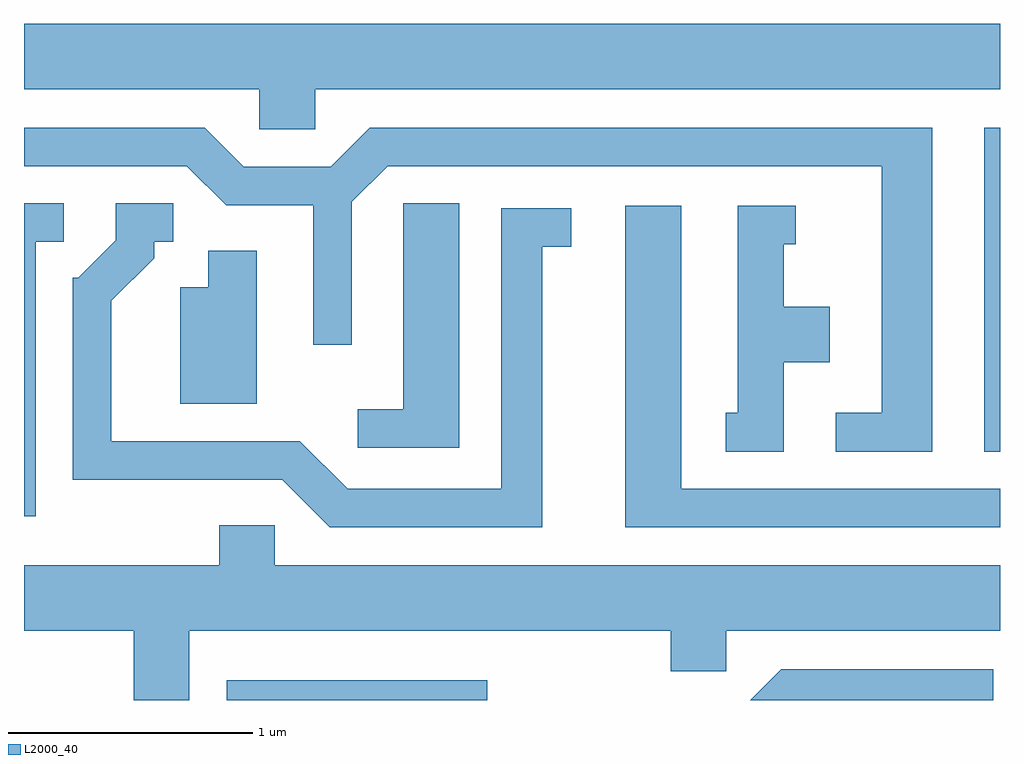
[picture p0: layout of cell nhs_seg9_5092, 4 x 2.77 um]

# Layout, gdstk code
import gdstk
lib = gdstk.Library(unit=1e-6, precision=1e-09)
def R(c, l, rs):  # rectangles x0, y0, x1, y1
    for r in rs: c.add(gdstk.rectangle(r[:2], r[2:], *l))
def P(c, l, *ps):  # polygons
    for p in ps: c.add(gdstk.Polygon(p, *l))
L2000_40 = (2000, 40)

nhs_seg9_5092 = lib.new_cell('nhs_seg9_5092')
R(nhs_seg9_5092, L2000_40, [(336.441,1980.432,337.509,1980.514), (339.546,1981.451,339.611,1982.779)])
P(nhs_seg9_5092, L2000_40, [(336.804,1982.936),(339.611,1982.936),(339.611,1983.204),(335.611,1983.204),(335.611,1982.936),(336.576,1982.936),(336.576,1982.771),(336.804,1982.771)],
  [(339.334,1982.779),(337.029,1982.779),(336.869,1982.619),(336.512,1982.619),(336.352,1982.779),(335.611,1982.779),(335.611,1982.621),(336.279,1982.621),(336.439,1982.461),(336.796,1982.461),(336.796,1981.888),(336.954,1981.888),(336.954,1982.474),(337.102,1982.621),(339.126,1982.621),(339.126,1981.609),(338.938,1981.609),(338.938,1981.451),(339.334,1981.451)],
  [(337.394,1982.469),(337.166,1982.469),(337.166,1981.624),(336.978,1981.624),(336.978,1981.466),(337.394,1981.466)],
  [(335.659,1982.311),(335.773,1982.311),(335.773,1982.469),(335.611,1982.469),(335.611,1981.186),(335.659,1981.186)],
  [(337.734,1982.291),(337.853,1982.291),(337.853,1982.449),(337.566,1982.449),(337.566,1981.299),(336.937,1981.299),(336.742,1981.494),(335.969,1981.494),(335.969,1982.069),(336.144,1982.244),(336.144,1982.311),(336.223,1982.311),(336.223,1982.469),(335.986,1982.469),(335.986,1982.317),(335.834,1982.164),(335.811,1982.164),(335.811,1981.336),(336.669,1981.336),(336.864,1981.141),(337.734,1981.141)],
  [(338.724,1981.816),(338.914,1981.816),(338.914,1982.044),(338.724,1982.044),(338.724,1982.301),(338.773,1982.301),(338.773,1982.459),(338.536,1982.459),(338.536,1981.609),(338.488,1981.609),(338.488,1981.451),(338.724,1981.451)],
  [(339.611,1981.299),(338.304,1981.299),(338.304,1982.459),(338.076,1982.459),(338.076,1981.141),(339.611,1981.141)],
  [(336.564,1982.274),(336.366,1982.274),(336.366,1982.124),(336.251,1982.124),(336.251,1981.646),(336.564,1981.646)],
  [(336.289,1980.716),(338.261,1980.716),(338.261,1980.551),(338.489,1980.551),(338.489,1980.716),(339.611,1980.716),(339.611,1980.984),(336.639,1980.984),(336.639,1981.149),(336.411,1981.149),(336.411,1980.984),(335.611,1980.984),(335.611,1980.716),(336.061,1980.716),(336.061,1980.432),(336.289,1980.432)],
  [(339.584,1980.559),(338.714,1980.559),(338.587,1980.432),(339.584,1980.432)])

lib.write_gds('nhs_seg9_5092.gds')
